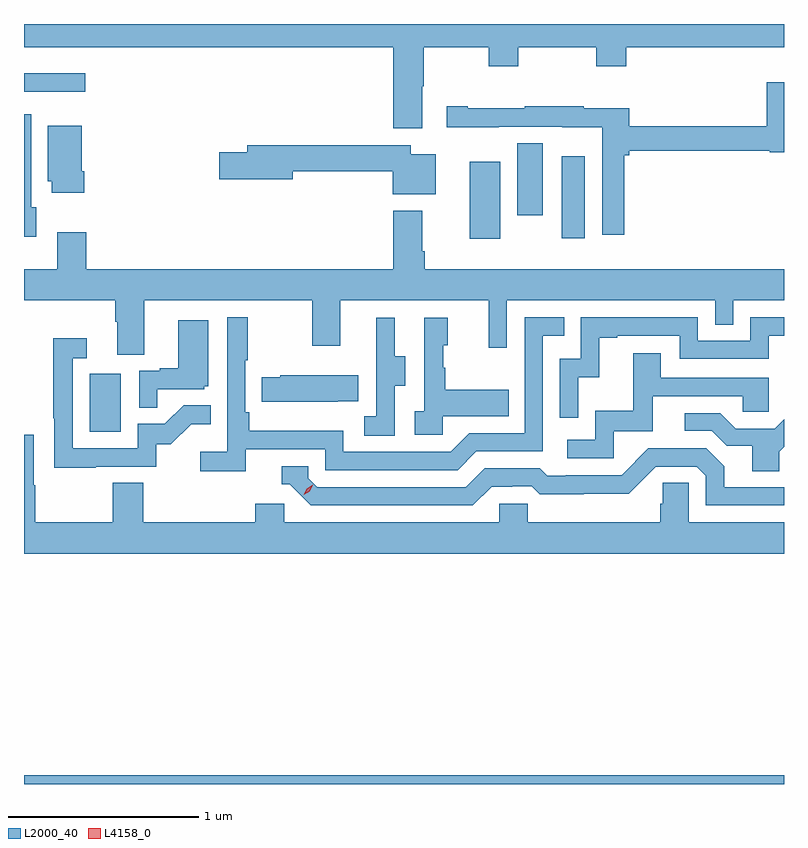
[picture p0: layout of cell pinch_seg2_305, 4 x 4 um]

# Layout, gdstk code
import gdstk
lib = gdstk.Library(unit=1e-6, precision=1e-09)
def R(c, l, rs):  # rectangles x0, y0, x1, y1
    for r in rs: c.add(gdstk.rectangle(r[:2], r[2:], *l))
def P(c, l, *ps):  # polygons
    for p in ps: c.add(gdstk.Polygon(p, *l))
L2000_40 = (2000, 40)
L4158_0 = (4158, 0)

pinch_seg2_305 = lib.new_cell('pinch_seg2_305')
R(pinch_seg2_305, L2000_40, [(949.745,638.431,953.745,638.476), (950.09,640.284,950.254,640.591), (952.091,641.301,952.252,641.707), (952.574,641.304,952.696,641.734), (952.34,641.424,952.474,641.804), (949.745,642.075,950.068,642.172)])
P(pinch_seg2_305, L2000_40, [(951.841,642.104),(951.849,642.104),(951.849,642.308),(952.192,642.308),(952.192,642.209),(952.347,642.209),(952.347,642.308),(952.756,642.308),(952.756,642.209),(952.916,642.209),(952.916,642.308),(953.745,642.308),(953.745,642.431),(949.745,642.431),(949.745,642.308),(951.689,642.308),(951.689,641.883),(951.841,641.883)],
  [(952.904,641.741),(952.931,641.741),(952.931,641.764),(953.67,641.764),(953.67,641.756),(953.745,641.756),(953.745,642.124),(953.654,642.124),(953.654,641.893),(952.931,641.893),(952.931,641.988),(952.691,641.988),(952.691,641.998),(952.381,641.998),(952.381,641.988),(952.081,641.988),(952.081,641.998),(951.969,641.998),(951.969,641.888),(952.244,641.888),(952.244,641.889),(952.578,641.889),(952.578,641.888),(952.788,641.888),(952.788,641.322),(952.904,641.322)],
  [(949.81,641.466),(949.783,641.466),(949.783,641.956),(949.745,641.956),(949.745,641.312),(949.81,641.312)],
  [(950.063,641.656),(950.05,641.656),(950.05,641.896),(949.871,641.896),(949.871,641.604),(949.892,641.604),(949.892,641.544),(950.063,641.544)],
  [(951.913,641.746),(951.78,641.746),(951.78,641.792),(950.921,641.792),(950.921,641.756),(950.772,641.756),(950.772,641.614),(951.16,641.614),(951.16,641.656),(951.686,641.656),(951.686,641.534),(951.913,641.534)],
  [(950.377,640.976),(951.262,640.976),(951.262,640.737),(951.409,640.737),(951.409,640.976),(952.19,640.976),(952.19,640.728),(952.287,640.728),(952.287,640.976),(953.382,640.976),(953.382,640.849),(953.478,640.849),(953.478,640.976),(953.745,640.976),(953.745,641.14),(951.854,641.14),(951.854,641.236),(951.841,641.236),(951.841,641.449),(951.689,641.449),(951.689,641.14),(950.072,641.14),(950.072,641.335),(949.919,641.335),(949.919,641.14),(949.745,641.14),(949.745,640.976),(950.225,640.976),(950.225,640.864),(950.237,640.864),(950.237,640.69),(950.377,640.69)],
  [(950.912,640.194),(951.33,640.194),(951.33,640.083),(952.027,640.083),(952.126,640.182),(952.476,640.182),(952.476,640.791),(952.589,640.791),(952.589,640.887),(952.38,640.887),(952.38,640.278),(952.089,640.278),(951.99,640.179),(951.426,640.179),(951.426,640.291),(950.93,640.291),(950.93,640.387),(950.91,640.387),(950.91,640.66),(950.923,640.66),(950.923,640.888),(950.814,640.888),(950.814,640.18),(950.673,640.18),(950.673,640.078),(950.912,640.078)],
  [(952.662,640.571),(952.772,640.571),(952.772,640.779),(952.867,640.779),(952.867,640.791),(953.196,640.791),(953.196,640.668),(953.664,640.668),(953.664,640.791),(953.745,640.791),(953.745,640.887),(953.568,640.887),(953.568,640.764),(953.292,640.764),(953.292,640.887),(952.674,640.887),(952.674,640.668),(952.566,640.668),(952.566,640.359),(952.662,640.359)],
  [(951.696,640.528),(951.751,640.528),(951.751,640.683),(951.697,640.683),(951.697,640.885),(951.599,640.885),(951.599,640.671),(951.6,640.671),(951.6,640.367),(951.537,640.367),(951.537,640.264),(951.696,640.264)],
  [(951.948,640.367),(952.295,640.367),(952.295,640.507),(951.961,640.507),(951.961,640.622),(951.951,640.622),(951.951,640.74),(951.976,640.74),(951.976,640.885),(951.852,640.885),(951.852,640.394),(951.801,640.394),(951.801,640.269),(951.948,640.269)],
  [(950.447,640.509),(950.694,640.509),(950.694,640.524),(950.716,640.524),(950.716,640.873),(950.558,640.873),(950.558,640.618),(950.459,640.618),(950.459,640.605),(950.352,640.605),(950.352,640.411),(950.447,640.411)],
  [(950.123,640.101),(950.442,640.101),(950.442,640.218),(950.518,640.218),(950.625,640.325),(950.729,640.325),(950.729,640.424),(950.585,640.424),(950.487,640.326),(950.343,640.326),(950.343,640.197),(950.001,640.197),(950.001,640.671),(950.074,640.671),(950.074,640.777),(949.9,640.777),(949.9,640.357),(949.905,640.357),(949.905,640.096),(950.123,640.096)],
  [(952.848,640.287),(953.053,640.287),(953.053,640.473),(953.527,640.473),(953.527,640.389),(953.664,640.389),(953.664,640.569),(953.095,640.569),(953.095,640.699),(952.951,640.699),(952.951,640.396),(952.752,640.396),(952.752,640.242),(952.605,640.242),(952.605,640.146),(952.848,640.146)],
  [(951.395,640.445),(951.503,640.445),(951.503,640.582),(951.093,640.582),(951.093,640.572),(950.995,640.572),(950.995,640.442),(951.395,640.442)],
  [(953.719,640.18),(953.745,640.206),(953.745,640.35),(953.697,640.302),(953.491,640.302),(953.41,640.383),(953.223,640.383),(953.223,640.29),(953.364,640.29),(953.444,640.21),(953.579,640.21),(953.579,640.078),(953.719,640.078)],
  [(953.745,639.808),(953.244,639.808),(953.244,640.016),(953.107,640.016),(953.107,639.906),(953.093,639.906),(953.093,639.808),(952.395,639.808),(952.395,639.906),(952.245,639.906),(952.245,639.808),(951.114,639.808),(951.114,639.906),(950.963,639.906),(950.963,639.808),(950.372,639.808),(950.372,640.016),(950.212,640.016),(950.212,639.808),(949.803,639.808),(949.803,640.004),(949.795,640.004),(949.795,640.27),(949.745,640.27),(949.745,639.644),(953.745,639.644)],
  [(952.207,639.996),(952.314,639.996),(952.314,639.999),(952.417,639.999),(952.459,639.957),(952.692,639.957),(952.692,639.959),(952.928,639.959),(953.07,640.101),(953.286,640.101),(953.334,640.053),(953.334,639.897),(953.745,639.897),(953.745,639.993),(953.431,639.993),(953.431,640.103),(953.337,640.197),(953.031,640.197),(952.89,640.056),(952.597,640.056),(952.597,640.053),(952.498,640.053),(952.459,640.092),(952.17,640.092),(952.071,639.993),(951.288,639.993),(951.24,640.041),(951.24,640.104),(951.101,640.104),(951.101,640.008),(951.144,640.008),(951.255,639.897),(952.108,639.897)])
P(pinch_seg2_305, L4158_0, [(951.218,639.954),(951.218,639.954),(951.234,639.986),(951.265,640.006),(951.265,640.006),(951.265,640.006),(951.249,639.973),(951.218,639.954)])

lib.write_gds('pinch_seg2_305.gds')
